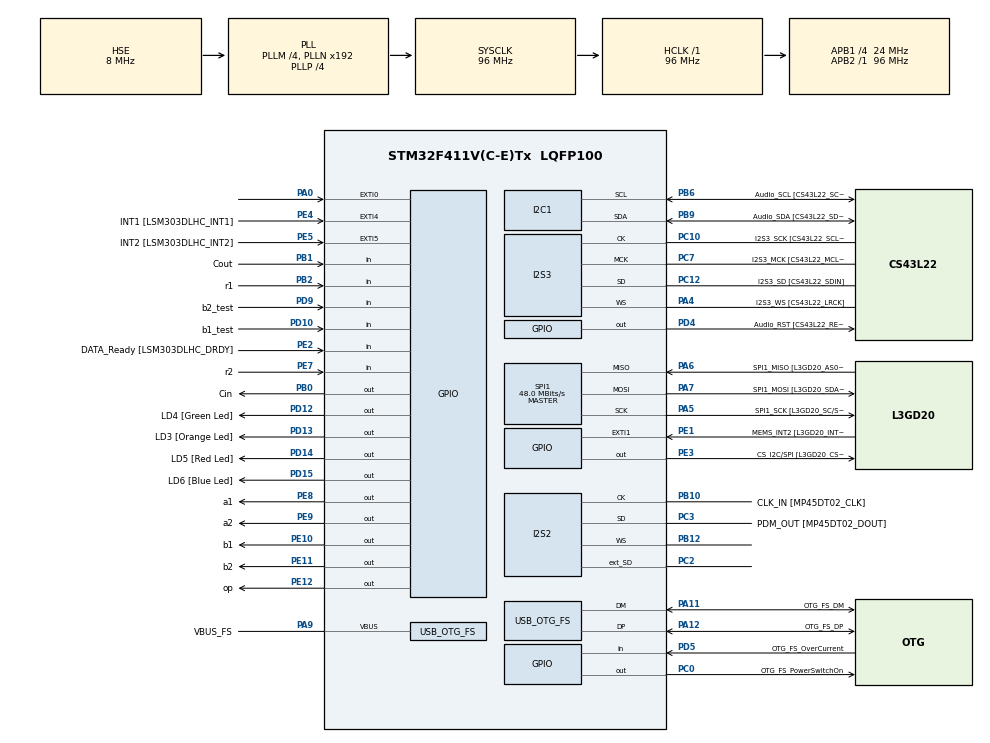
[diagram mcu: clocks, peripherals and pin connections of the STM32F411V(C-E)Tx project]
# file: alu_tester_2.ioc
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PD12.GPIO_Label=LD4 [Green Led]
PC10.GPIO_PuPd=GPIO_NOPULL
SPI1.VirtualType=VM_MASTER
PB10.Mode=Full_Duplex_Master
PC12.Signal=I2S3_SD
PA14.GPIO_Label=SWCLK
PA6.GPIO_Label=SPI1_MISO [L3GD20_AS0/SDO]
PB6.GPIO_Label=Audio_SCL [CS43L22_SCL]
PC15-OSC32_OUT.GPIO_Label=PC15-OSC32_OUT
RCC.SYSCLKSource=RCC_SYSCLKSOURCE_PLLCLK
PD14.GPIO_Speed=GPIO_SPEED_FREQ_LOW
PA4.Mode=Half_Duplex_Master
SPI1.Direction=SPI_DIRECTION_2LINES
PD4.Signal=GPIO_Output
RCC.APB2TimFreq_Value=96000000
PB6.Signal=I2C1_SCL
PC7.Signal=I2S3_MCK
PB6.Mode=I2C
SPI1.CalculateBaudRate=48.0 MBits/s
PC3.Signal=I2S2_SD
PE5.Signal=GPXTI5
PE1.Signal=GPXTI1
USB_OTG_FS.phy_itface=HCD_PHY_EMBEDDED
PB2.Signal=GPIO_Input
I2S3.ErrorAudioFreq=-6.99 %
PE9.Signal=GPIO_Output
PB1.GPIO_Label=Cout
PE4.GPIO_Label=INT1 [LSM303DLHC_INT1]
PE2.Signal=GPIO_Input
PD14.GPIO_PuPd=GPIO_NOPULL
PE10.Signal=GPIO_Output
Mcu.Package=LQFP100
PB9.Signal=I2C1_SDA
PB1.Signal=GPIO_Input
PD12.Signal=GPIO_Output
PA10.Signal=USB_OTG_FS_ID
PB9.GPIO_PuPd=GPIO_NOPULL
PE12.GPIO_Label=op
RCC.APB1TimFreq_Value=48000000
PC12.GPIO_PuPd=GPIO_NOPULL
PE10.GPIO_Label=b1
PA4.GPIO_Label=I2S3_WS [CS43L22_LRCK]
PD15.Signal=GPIO_Output
PC0.PinState=GPIO_PIN_SET
PA5.Mode=Full_Duplex_Master
I2S2.AudioFreq=I2S_AUDIOFREQ_96K
I2S3.FullDuplexMode=I2S_FULLDUPLEXMODE_DISABLE
PD9.GPIO_Label=b2_test
PA9.GPIO_Label=VBUS_FS
PB6.GPIO_PuPd=GPIO_NOPULL
PH1\ -\ OSC_OUT.Mode=HSE-External-Oscillator
PC2.Signal=I2S2_ext_SD
PA11.GPIO_Label=OTG_FS_DM
PC0.Signal=GPIO_Output
RCC.APB1CLKDivider=RCC_HCLK_DIV4
PC14-OSC32_IN.Signal=RCC_OSC32_IN
PA0-WKUP.GPIO_ModeDefaultEXTI=GPIO_MODE_EVT_RISING
PA0-WKUP.Signal=GPXTI0
USB_HOST0.BSP.STBoard=false
PD10.Signal=GPIO_Input
PC10.GPIO_Mode=GPIO_MODE_AF_PP
PE5.GPIO_ModeDefaultEXTI=GPIO_MODE_EVT_RISING
PE8.GPIO_Label=a1
PA9.Signal=USB_OTG_FS_VBUS
I2S2.VirtualMode=I2S_MODE_MASTER
I2S3.VirtualMode=I2S_MODE_MASTER
PC7.GPIO_PuPd=GPIO_NOPULL
PE9.GPIO_Label=a2
PB10.Signal=I2S2_CK
PA5.Signal=SPI1_SCK
I2S3.AudioFreq=I2S_AUDIOFREQ_96K
PC12.Mode=Half_Duplex_Master
PH1\ -\ OSC_OUT.Signal=RCC_OSC_OUT
PE1.GPIO_Label=MEMS_INT2 [L3GD20_INT2]
USB_HOST.VirtualModeFS=Cdc
PE8.Signal=GPIO_Output
SPI1.Mode=SPI_MODE_MASTER
PA13.Mode=Serial_Wire
I2S2.FullDuplexMode=I2S_FULLDUPLEXMODE_ENABLE
PC7.GPIO_Label=I2S3_MCK [CS43L22_MCLK]
PA4.Signal=I2S3_WS
PC12.GPIO_Mode=GPIO_MODE_AF_PP
PA5.GPIO_Label=SPI1_SCK [L3GD20_SC/SPC]
PE5.GPIO_Label=INT2 [LSM303DLHC_INT2]
PC12.GPIO_Label=I2S3_SD [CS43L22_SDIN]
PA11.Signal=USB_OTG_FS_DM
ProjectManager.HeapSize=0x200
USB_HOST.USBH_HandleTypeDef=hUsbHostFS
NVIC.PriorityGroup=NVIC_PRIORITYGROUP_0
PE3.Signal=GPIO_Output
PC3.GPIO_Label=PDM_OUT [MP45DT02_DOUT]
I2S3.Instance=SPI$Index
PB6.GPIO_Speed=GPIO_SPEED_FREQ_LOW
PB0.Signal=GPIO_Output
USB_HOST0.BSP.mode=Output
Mcu.Family=STM32F4
PC3.Mode=Full_Duplex_Master
PA6.Mode=Full_Duplex_Master
RCC.CortexFreq_Value=96000000
PB6.GPIO_Mode=GPIO_MODE_AF_OD
PE11.GPIO_Label=b2
PD15.GPIO_Speed=GPIO_SPEED_FREQ_LOW
PC10.Signal=I2S3_CK
PC0.GPIO_Label=OTG_FS_PowerSwitchOn
PA11.Mode=Host_Only
PB0.GPIO_Label=Cin
PC10.GPIO_Speed=GPIO_SPEED_FREQ_LOW
ProjectManager.StackSize=0x400
PD13.Signal=GPIO_Output
PA12.Signal=USB_OTG_FS_DP
PH0\ -\ OSC_IN.Signal=RCC_OSC_IN
RCC.HCLKFreq_Value=96000000
USB_HOST0.BSP.ip=GPIO
RCC.AHBFreq_Value=96000000
RCC.HSE_VALUE=8000000
PA4.GPIO_PuPd=GPIO_NOPULL
PA4.GPIO_Speed=GPIO_SPEED_FREQ_LOW
PC14-OSC32_IN.Mode=LSE-External-Oscillator
PA14.Mode=Serial_Wire
PA10.GPIO_Label=OTG_FS_ID
PC7.GPIO_Mode=GPIO_MODE_AF_PP
USB_HOST0.BSP.i2creg=0
PE4.Signal=GPXTI4
USB_HOST0.BSP.i2caddr=0
PD13.GPIO_Label=LD3 [Orange Led]
PA6.Signal=SPI1_MISO
PB12.Mode=Full_Duplex_Master
PD5.GPIO_Label=OTG_FS_OverCurrent
NVIC.OTG_FS_IRQn=true\:0\:0\:false\:false\:true\:true\:true
PD15.GPIO_PuPd=GPIO_NOPULL
USB_OTG_FS.VirtualMode=Host_Only
USB_HOST0.BSP.name=Drive_VBUS_FS
PB9.GPIO_Speed=GPIO_SPEED_FREQ_LOW
PC14-OSC32_IN.GPIO_Label=PC14-OSC32_IN
PE7.Signal=GPIO_Input
SPI1.BaudRatePrescaler=SPI_BAUDRATEPRESCALER_2
PE2.GPIO_Label=DATA_Ready [LSM303DLHC_DRDY]
PB3.GPIO_Label=SWO
PC15-OSC32_OUT.Mode=LSE-External-Oscillator
PD12.GPIO_Speed=GPIO_SPEED_FREQ_LOW
PD15.GPIO_Label=LD6 [Blue Led]
PA7.Mode=Full_Duplex_Master
I2S2.Instance=SPI$Index
PB9.GPIO_Label=Audio_SDA [CS43L22_SDA]
PC10.GPIO_Label=I2S3_SCK [CS43L22_SCLK]
USB_HOST0.BSP.solution=PC0
PC10.Mode=Half_Duplex_Master
USB_HOST.BSP.number=1
PE4.GPIO_ModeDefaultEXTI=GPIO_MODE_EVT_RISING
PC2.Mode=Full_Duplex_Master
PD9.Signal=GPIO_Input
PD5.Signal=GPIO_Input
PE1.GPIO_ModeDefaultEXTI=GPIO_MODE_EVT_RISING
PA12.GPIO_Label=OTG_FS_DP
PA13.Signal=SYS_JTMS-SWDIO
PA9.Mode=Activate_VBUS
PH0\ -\ OSC_IN.Mode=HSE-External-Oscillator
ProjectManager.TargetToolchain=STM32CubeIDE
PB10.GPIO_Label=CLK_IN [MP45DT02_CLK]
PB9.Mode=I2C
PD10.GPIO_Label=b1_test
PE11.Signal=GPIO_Output
PC15-OSC32_OUT.Signal=RCC_OSC32_OUT
board=STM32F411E-DISCO
PD13.GPIO_Speed=GPIO_SPEED_FREQ_LOW
PC7.GPIO_Speed=GPIO_SPEED_FREQ_LOW
RCC.VCOOutputFreq_Value=384000000
PB9.GPIO_Mode=GPIO_MODE_AF_OD
PA4.GPIO_Mode=GPIO_MODE_AF_PP
RCC.APB2Freq_Value=96000000
USB_HOST0.BSP.api=Unknown
PD4.GPIO_Label=Audio_RST [CS43L22_RESET]
PD13.GPIO_PuPd=GPIO_NOPULL
PD14.GPIO_Label=LD5 [Red Led]
Mcu.Name=STM32F411V(C-E)Tx
PE7.GPIO_Label=r2
PE12.Signal=GPIO_Output
PA13.GPIO_Label=SWDIO
PD14.Signal=GPIO_Output
PH1\ -\ OSC_OUT.GPIO_Label=PH1-OSC_OUT
RCC.48MHZClocksFreq_Value=48000000
PB3.Signal=SYS_JTDO-SWO
RCC.SYSCLKFreq_VALUE=96000000
PA7.GPIO_Label=SPI1_MOSI [L3GD20_SDA/SDI/SDO]
PA12.Mode=Host_Only
I2S2.ErrorAudioFreq=0.15 %
VP_USB_HOST_VS_USB_HOST_CDC_FS.Mode=CDC_FS
PA14.Signal=SYS_JTCK-SWCLK
PB2.GPIO_Label=r1
RCC.HSI_VALUE=16000000
RCC.PLLP=RCC_PLLP_DIV4
RCC.PLLQ=8
I2S3.RealAudioFreq=89.285 KHz
RCC.PLLM=4
PE3.GPIO_Label=CS_I2C/SPI [L3GD20_CS_I2C/SPI]
PH0\ -\ OSC_IN.GPIO_Label=PH0-OSC_IN
PC7.Mode=Master_Clock_Activated
RCC.APB1Freq_Value=24000000
PC12.GPIO_Speed=GPIO_SPEED_FREQ_LOW
I2S2.RealAudioFreq=96.153 KHz
RCC.PLLI2SN=200
PB12.Signal=I2S2_WS
PD12.GPIO_PuPd=GPIO_NOPULL
RCC.PLLI2SM=5
PA7.Signal=SPI1_MOSI
USB_HOST0.BSP.instance=PC0

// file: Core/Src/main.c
/* USER CODE BEGIN Header */
/**
  ******************************************************************************
  * @file           : main.c
  * @brief          : Main program body
  ******************************************************************************
  * @attention
  *
  * <h2><center>&copy; Copyright (c) 2022 STMicroelectronics.
  * All rights reserved.</center></h2>
  *
  * This software component is licensed by ST under Ultimate Liberty license
  * SLA0044, the "License"; You may not use this file except in compliance with
  * the License. You may obtain a copy of the License at:
  *                             www.st.com/SLA0044
  *
  ******************************************************************************
  */
/* USER CODE END Header */
#include "main.h"
#include "i2c.h"
#include "i2s.h"
#include "spi.h"
#include "usb_host.h"
#include "gpio.h"

void SystemClock_Config(void);
void MX_USB_HOST_Process(void);

int main(void)
{

  /* MCU Configuration--------------------------------------------------------*/

  /* Reset of all peripherals, Initializes the Flash interface and the Systick. */
  HAL_Init();

  /* Configure the system clock */
  SystemClock_Config();

  /* Initialize all configured peripherals */
  MX_GPIO_Init();
  MX_I2C1_Init();
  MX_I2S2_Init();
  MX_I2S3_Init();
  MX_SPI1_Init();
  MX_USB_HOST_Init();
  /* USER CODE BEGIN 2 */
//    uint16_t testPins[8] = {a1_Pin, a2_Pin, b1_Pin, b2_Pin,  op_Pin, r1_Pin, r2_Pin, Cout_Pin};
//    GPIO_TypeDef *testPorts[8] = {a1_GPIO_Port,a2_GPIO_Port,b1_GPIO_Port,b2_GPIO_Port,op_GPIO_Port, r1_GPIO_Port,r2_GPIO_Port, Cout_GPIO_Port};
      uint16_t testPins[8] = {a2_Pin, a1_Pin, b2_Pin, b1_Pin,  op_Pin, r2_Pin, r1_Pin, Cout_Pin};
      GPIO_TypeDef *testPorts[8] = {a2_GPIO_Port,a1_GPIO_Port,b2_GPIO_Port,b1_GPIO_Port,op_GPIO_Port, r2_GPIO_Port,r1_GPIO_Port, Cout_GPIO_Port};

    int tests[][9]={
    		// substraction
    		// a1_a2 - b1_b2 = r1_r1 cout: cout
    		{0,0,0,0,0,0,0,1},
    		{0,0,0,1,0,1,1,0},
    		{0,0,1,0,0,1,0,0},
    		{0,0,1,1,0,0,1,0},

    		{0,1,0,0,0,0,1,1},
    		{0,1,0,1,0,0,0,1},
    		{0,1,1,0,0,1,1,0},
    		{0,1,1,1,0,1,0,0},

    		{1,0,0,0,0,1,0,1},
    		{1,0,0,1,0,0,1,1},
    		{1,0,1,0,0,0,0,1},
    		{1,0,1,1,0,1,1,0},

    		{1,1,0,0,0,1,1,1},
    		{1,1,0,1,0,1,0,1},
    		{1,1,1,0,0,0,1,1},
    		{1,1,1,1,0,0,0,1},

//			// xor
			{0,0,0,0,1,0,0,1},
			{0,0,0,1,1,0,1,0},
			{0,0,1,0,1,1,0,0},
			{0,0,1,1,1,1,1,0},

			{0,1,0,0,1,0,1,1},
			{0,1,0,1,1,0,0,1},
			{0,1,1,0,1,1,1,0},
			{0,1,1,1,1,1,0,0},

			{1,0,0,0,1,1,0,1},
			{1,0,0,1,1,1,1,1},
			{1,0,1,0,1,0,0,1},
			{1,0,1,1,1,0,1,0},

			{1,1,0,0,1,1,1,1},
			{1,1,0,1,1,1,0,1},
			{1,1,1,0,1,0,1,1},
			{1,1,1,1,1,0,0,1},

    };

  	int failure =0;

    void setSuccessSign(){
    	HAL_GPIO_WritePin(LD3_GPIO_Port, LD3_Pin, 1);
    	HAL_GPIO_WritePin(LD6_GPIO_Port, LD6_Pin, 0);
    }
    void setFailureSign(){
    	HAL_GPIO_WritePin(LD3_GPIO_Port, LD3_Pin, 0);
    	HAL_GPIO_WritePin(LD6_GPIO_Port, LD6_Pin, 1);
//    	HAL_GPIO_TogglePin(LD6_GPIO_Port, LD6_Pin);

    }
    void Blink(){
    	HAL_GPIO_TogglePin(LD5_GPIO_Port, LD5_Pin);
    	HAL_Delay(80);
    	HAL_GPIO_TogglePin(LD5_GPIO_Port, LD5_Pin);
    }

    void checkIfEqual(int outputVal, int inputVal){
    	if(outputVal!= inputVal){
    		setFailureSign();
    		failure++;
    	}
    }

  /* USER CODE END 2 */

  /* Infinite loop */
  /* USER CODE BEGIN WHILE */
  while (1)
  {
	  failure=0;

	  	  for(int i=0; i <32;i++){
	  		  HAL_GPIO_WritePin(Cin_GPIO_Port, Cin_Pin, 1);  // carry-in always 1

	  		  for(int j=0;j<5;j++){
	  			  HAL_GPIO_WritePin(testPorts[j], testPins[j], tests[i][j]);
	  		  }
	  		  HAL_Delay(25);

	  		  for(int j=5; j<8;j++){
	  			  checkIfEqual(HAL_GPIO_ReadPin(testPorts[j],testPins[j]), tests[i][j]);
	  		  }

	  	  }
	  	  if (failure==0){
	  	  		  	setSuccessSign();
	  	  		}
	  	  Blink();
	  	 HAL_Delay(100);
    /* USER CODE END WHILE */
    MX_USB_HOST_Process();

  }
}

void SystemClock_Config(void)
{
  RCC_OscInitTypeDef RCC_OscInitStruct = {0};
  RCC_ClkInitTypeDef RCC_ClkInitStruct = {0};
  RCC_PeriphCLKInitTypeDef PeriphClkInitStruct = {0};

  /** Configure the main internal regulator output voltage
  */
  __HAL_RCC_PWR_CLK_ENABLE();
  __HAL_PWR_VOLTAGESCALING_CONFIG(PWR_REGULATOR_VOLTAGE_SCALE1);
  /** Initializes the RCC Oscillators according to the specified parameters
  * in the RCC_OscInitTypeDef structure.
  */
  RCC_OscInitStruct.OscillatorType = RCC_OSCILLATORTYPE_HSE;
  RCC_OscInitStruct.HSEState = RCC_HSE_ON;
  RCC_OscInitStruct.PLL.PLLState = RCC_PLL_ON;
  RCC_OscInitStruct.PLL.PLLSource = RCC_PLLSOURCE_HSE;
  RCC_OscInitStruct.PLL.PLLM = 4;
  RCC_OscInitStruct.PLL.PLLN = 192;
  RCC_OscInitStruct.PLL.PLLP = RCC_PLLP_DIV4;
  RCC_OscInitStruct.PLL.PLLQ = 8;
  if (HAL_RCC_OscConfig(&RCC_OscInitStruct) != HAL_OK)
  {
    Error_Handler();
  }
  /** Initializes the CPU, AHB and APB buses clocks
  */
  RCC_ClkInitStruct.ClockType = RCC_CLOCKTYPE_HCLK|RCC_CLOCKTYPE_SYSCLK
                              |RCC_CLOCKTYPE_PCLK1|RCC_CLOCKTYPE_PCLK2;
  RCC_ClkInitStruct.SYSCLKSource = RCC_SYSCLKSOURCE_PLLCLK;
  RCC_ClkInitStruct.AHBCLKDivider = RCC_SYSCLK_DIV1;
  RCC_ClkInitStruct.APB1CLKDivider = RCC_HCLK_DIV4;
  RCC_ClkInitStruct.APB2CLKDivider = RCC_HCLK_DIV1;

  if (HAL_RCC_ClockConfig(&RCC_ClkInitStruct, FLASH_LATENCY_3) != HAL_OK)
  {
    Error_Handler();
  }
  PeriphClkInitStruct.PeriphClockSelection = RCC_PERIPHCLK_I2S;
  PeriphClkInitStruct.PLLI2S.PLLI2SN = 200;
  PeriphClkInitStruct.PLLI2S.PLLI2SM = 5;
  PeriphClkInitStruct.PLLI2S.PLLI2SR = 2;
  if (HAL_RCCEx_PeriphCLKConfig(&PeriphClkInitStruct) != HAL_OK)
  {
    Error_Handler();
  }
}

void Error_Handler(void)
{
  __disable_irq();
  while (1)
  {
  }
}

/************************ (C) COPYRIGHT STMicroelectronics *****END OF FILE****/
